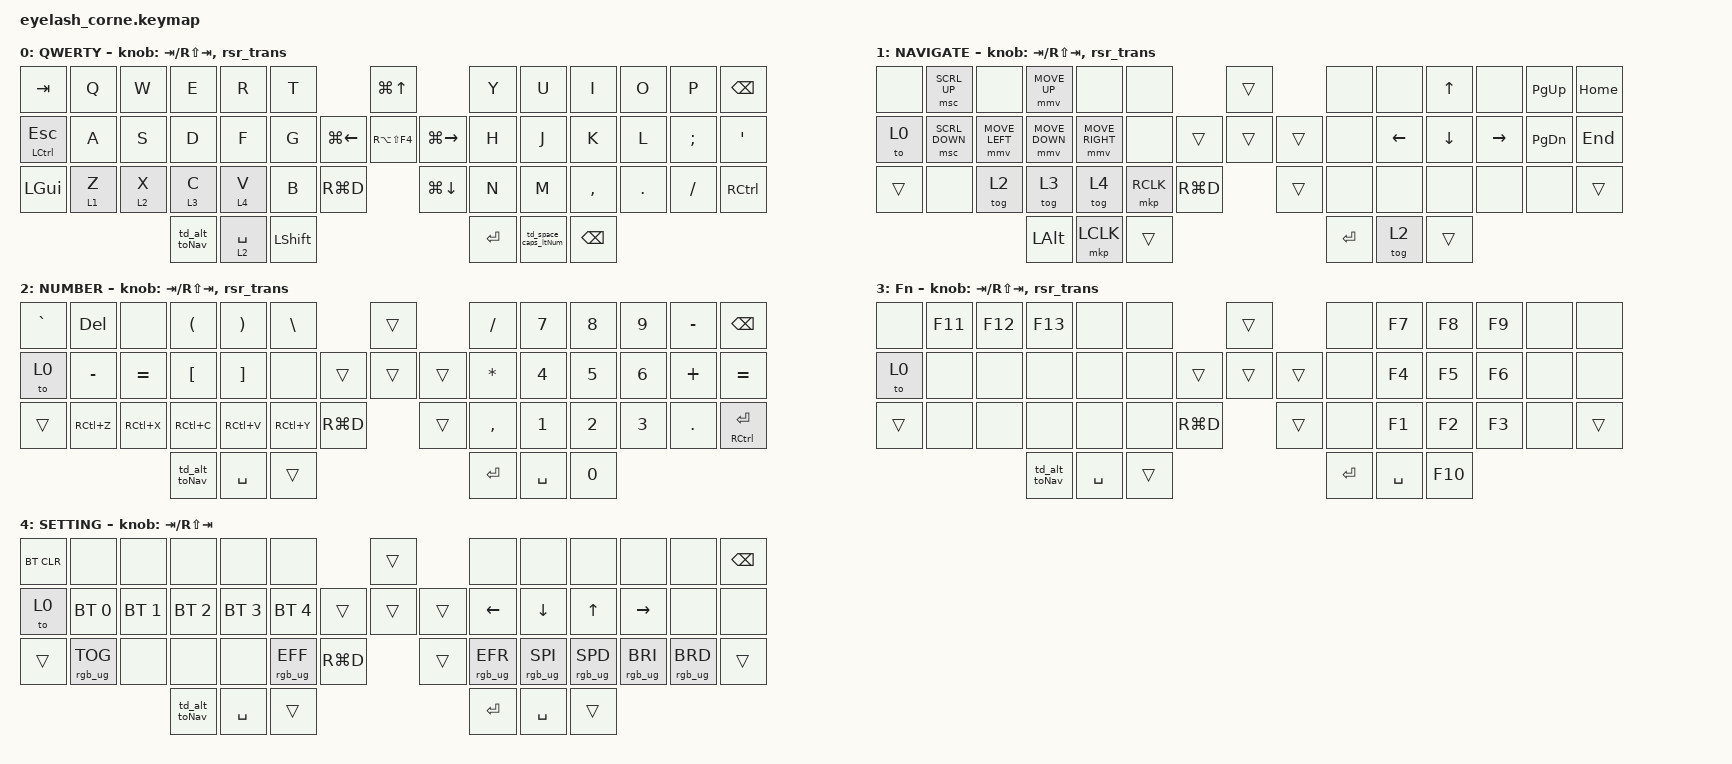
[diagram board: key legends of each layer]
#define ZMK_POINTING_DEFAULT_MOVE_VAL 1200  // 600
#define ZMK_POINTING_DEFAULT_SCRL_VAL 25   // 10

#include <input/processors.dtsi>
#include <zephyr/dt-bindings/input/input-event-codes.h>
#include <behaviors/runtime-sensor-rotate.dtsi>
#include <behaviors.dtsi>
#include <dt-bindings/zmk/bt.h>
#include <dt-bindings/zmk/keys.h>
#include <dt-bindings/zmk/pointing.h>
#include <dt-bindings/zmk/rgb.h>

&soft_off { hold-time-ms = <2000>; };

/ {
    behaviors {
        td0: td0 {
            compatible = "zmk,behavior-tap-dance";
            display-name = "Shift/Caps Lock Tap Dance";
            #binding-cells = <0>;
            bindings = <&kp LEFT_SHIFT>, <&kp CAPS>;
        };

        rsr_vol: rsr_vol {
            compatible = "zmk,behavior-runtime-sensor-rotate";
            #sensor-binding-cells = <0>;
            tap-ms = <5>;
            cw-binding = <&kp C_VOL_UP>;
            ccw-binding = <&kp C_VOL_DN>;
        };

        rsr_trans: rsr_trans {
            compatible = "zmk,behavior-runtime-sensor-rotate";
            #sensor-binding-cells = <0>;
            tap-ms = <0>;
        };

        td_alt_toNav: td_alt_toNav {
            compatible = "zmk,behavior-tap-dance";
            label = "TD_ALT_TONAV";
            #binding-cells = <0>;
            bindings = <&kp LEFT_ALT>, <&to 1>;
        };

        td_space_caps_ltNum: td_space_caps_ltNum {
            compatible = "zmk,behavior-tap-dance";
            label = "TD_SPACE_CAPS_LTNUM";
            #binding-cells = <0>;
            bindings = <&lt 2 SPACE>, <&kp CAPS>;
        };

        hold_tap_twoKP: hold_tap_twoKP {
            compatible = "zmk,behavior-hold-tap";
            label = "HOLD_TAP_TWOKP";
            bindings = <&kp>, <&kp>;

            #binding-cells = <2>;
            tapping-term-ms = <200>;
        };
    };

    combos {
        compatible = "zmk,combos";

        softoff {
            bindings = <&soft_off>;
            key-positions = <1 15 29>;
        };

        EN-DASH {
            bindings = <&kp MINUS>;
            key-positions = <23 24>;
        };

        EM_DASH {
            bindings = <&kp RS(MINUS)>;
            key-positions = <23 24 25>;
        };
    };

    keymap {
        compatible = "zmk,keymap";

        Base {
            display-name = "QWERTY";
            bindings = <
&kp TAB                    &kp Q    &kp W    &kp E          &kp R        &kp T                                      &kp LG(UP)                     &kp Y      &kp U                 &kp I          &kp O    &kp P     &kp BSPC
&hold_tap_twoKP LCTRL ESC  &kp A    &kp S    &kp D          &kp F        &kp G                        &kp LG(LEFT)  &kp RA(LS(F4))  &kp LG(RIGHT)  &kp H      &kp J                 &kp K          &kp L    &kp SEMI  &kp SQT
&kp LEFT_GUI               &lt 1 Z  &lt 2 X  &lt 3 C        &lt 4 V      &kp B           &kp RG(D)                  &kp LG(DOWN)                   &kp N      &kp M                 &kp COMMA      &kp DOT  &kp FSLH  &kp RCTRL
                                             &td_alt_toNav  &lt 2 SPACE  &kp LEFT_SHIFT                                                            &kp ENTER  &td_space_caps_ltNum  &kp BACKSPACE
            >;

            sensor-bindings = <&inc_dec_kp TAB RS(TAB)>, <&rsr_trans>;
        };

        Nav {
            display-name = "NAVIGATE";
            bindings = <
&none   &msc SCRL_UP    &none           &mmv MOVE_UP    &none            &none                           &trans          &none      &none     &kp UP    &none      &kp PAGE_UP    &kp HOME
&to 0   &msc SCRL_DOWN  &mmv MOVE_LEFT  &mmv MOVE_DOWN  &mmv MOVE_RIGHT  &none                   &trans  &trans  &trans  &none      &kp LEFT  &kp DOWN  &kp RIGHT  &kp PAGE_DOWN  &kp END
&trans  &none           &tog 2          &tog 3          &tog 4           &mkp RCLK  &kp RG(D)            &trans          &none      &none     &none     &none      &none          &trans
                                        &kp LEFT_ALT    &mkp LCLK        &trans                                          &kp ENTER  &tog 2    &trans
            >;

            sensor-bindings = <&inc_dec_kp TAB RS(TAB)>, <&rsr_trans>;
        };

        Number {
            display-name = "NUMBER";
            bindings = <
&kp GRAVE  &kp DEL    &none      &kp LPAR       &kp RPAR   &kp BACKSLASH                       &trans          &kp SLASH  &kp N7        &kp N8        &kp N9        &kp MINUS  &kp BSPC
&to 0      &kp MINUS  &kp EQUAL  &kp LBKT       &kp RBKT   &none                       &trans  &trans  &trans  &kp STAR   &kp NUMBER_4  &kp N5        &kp NUMBER_6  &kp PLUS   &kp EQUAL
&trans     &kp RC(Z)  &kp RC(X)  &kp RC(C)      &kp RC(V)  &kp RC(Y)      &kp RG(D)            &trans          &kp COMMA  &kp NUMBER_1  &kp NUMBER_2  &kp NUMBER_3  &kp DOT    &hold_tap_twoKP RCTRL ENTER
                                 &td_alt_toNav  &kp SPACE  &trans                                              &kp ENTER  &kp SPACE     &kp N0
            >;

            sensor-bindings = <&inc_dec_kp TAB RS(TAB)>, <&rsr_trans>;
        };

        Fn {
            display-name = "Fn";
            bindings = <
&none   &kp F11  &kp F12  &kp F13        &none      &none                        &trans          &none      &kp F7     &kp F8   &kp F9  &none  &none
&to 0   &none    &none    &none          &none      &none                &trans  &trans  &trans  &none      &kp F4     &kp F5   &kp F6  &none  &none
&trans  &none    &none    &none          &none      &none   &kp RG(D)            &trans          &none      &kp F1     &kp F2   &kp F3  &none  &trans
                          &td_alt_toNav  &kp SPACE  &trans                                       &kp ENTER  &kp SPACE  &kp F10
            >;

            sensor-bindings = <&inc_dec_kp TAB RS(TAB)>, <&rsr_trans>;
        };

        SETTING {
            display-name = "SETTING";
            bindings = <
&bt BT_CLR  &none            &none         &none          &none         &none                                 &trans          &none            &none            &none            &none            &none            &kp BACKSPACE
&to 0       &bt BT_SEL 0     &bt BT_SEL 1  &bt BT_SEL 2   &bt BT_SEL 3  &bt BT_SEL 4                  &trans  &trans  &trans  &kp LEFT         &kp DOWN         &kp UP           &kp RIGHT        &none            &none
&trans      &rgb_ug RGB_TOG  &none         &none          &none         &rgb_ug RGB_EFF  &kp RG(D)            &trans          &rgb_ug RGB_EFR  &rgb_ug RGB_SPI  &rgb_ug RGB_SPD  &rgb_ug RGB_BRI  &rgb_ug RGB_BRD  &trans
                                           &td_alt_toNav  &kp SPACE     &trans                                                &kp ENTER        &kp SPACE        &trans
            >;

            sensor-bindings = <&inc_dec_kp TAB RS(TAB)>;
        };
    };
};
